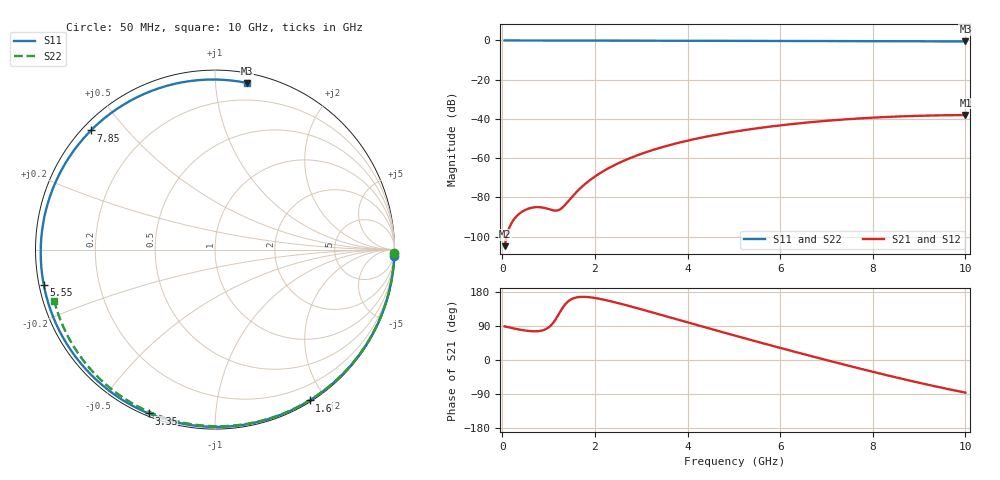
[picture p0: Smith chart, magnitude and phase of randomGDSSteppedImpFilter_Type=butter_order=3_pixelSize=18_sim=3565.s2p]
! freq	dB(S11)	phase(S11)	dB(S12)	phase(S12)
!  dB(S21)	phase(S21)	dB(S22)	phase(S22)
!S-par simulation data
#  GHz  S  DB  R 50
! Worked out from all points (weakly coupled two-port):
!   200 points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, 50 MHz to 10 GHz, reference 50 ohm
!   highest |S21| = -38.02 dB at 10 GHz (marker M1); lowest = -104.8 dB at 50 MHz (marker M2)
!   lowest |S11| = -0.5 dB at 10 GHz (marker M3), VSWR 35.69, Z = 3.44 + j60.3 ohm
!   |S11| at or under -10 dB: nowhere
!   |S22| runs from -0.5 to 0.0 dB; largest |S21 - S12| = 0
!   S11 on the Smith chart (normalised r, x): 50 MHz: 0, -60; 1.6 GHz: 0.02, -1.81; 3.35 GHz: 0.01, -0.67; 5.55 GHz: 0.01, -0.10; 7.85 GHz: 0.02, +0.40; 10 GHz: 0.07, +1.21
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0.05  -0.00 -1.9  -104.83 88.8  -104.83 88.8  -0.00 -1.0
0.35  -0.02 -13.1  -88.63 80.8  -88.63 80.8  -0.01 -6.6
0.7  -0.03 -26.0  -85.00 75.7  -85.00 75.7  -0.02 -13.2
1.45  -0.07 -52.8  -81.23 157.3  -81.23 157.3  -0.03 -27.2
1.5  -0.07 -54.5  -79.87 160.9  -79.87 160.9  -0.04 -28.1
1.6  -0.07 -57.9  -77.29 165.0  -77.29 165.0  -0.04 -30.0
1.75  -0.08 -63.0  -73.91 166.7  -73.91 166.7  -0.04 -32.7
2.05  -0.09 -72.9  -68.54 162.6  -68.54 162.6  -0.05 -38.2
2.4  -0.10 -84.0  -63.79 153.2  -63.79 153.2  -0.06 -44.5
2.85  -0.11 -97.6  -59.11 138.8  -59.11 138.8  -0.07 -52.4
3.35  -0.13 -112.0  -55.09 121.8  -55.09 121.8  -0.08 -61.1
3.4  -0.13 -113.4  -54.74 120.1  -54.74 120.1  -0.08 -61.9
4.25  -0.17 -136.1  -49.76 90.7  -49.76 90.7  -0.11 -76.2
5.05  -0.20 -156.2  -46.33 63.5  -46.33 63.5  -0.14 -89.0
5.55  -0.23 -168.3  -44.61 46.7  -44.61 46.7  -0.16 -96.8
6.1  -0.26 178.5  -43.01 28.7  -43.01 28.7  -0.19 -105.3
6.7  -0.30 164.2  -41.56 9.3  -41.56 9.3  -0.22 -114.2
7.25  -0.33 150.9  -40.48 -8.1  -40.48 -8.1  -0.26 -122.3
7.85  -0.37 136.2  -39.54 -26.6  -39.54 -26.6  -0.31 -131.0
8.35  -0.40 123.5  -38.94 -41.5  -38.94 -41.5  -0.35 -138.2
9.2  -0.45 101.2  -38.28 -65.5  -38.28 -65.5  -0.44 -150.5
10  -0.49 79.2  -38.02 -86.1  -38.02 -86.1  -0.54 -162.2
